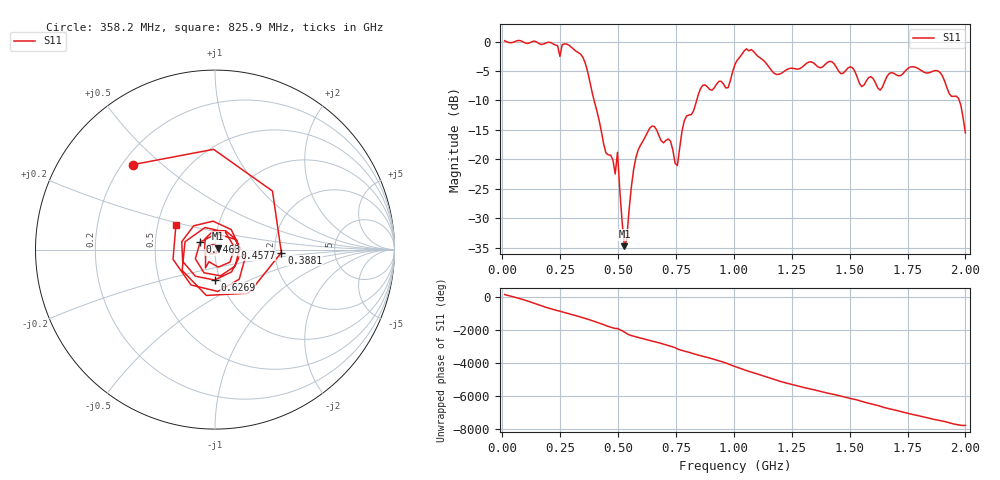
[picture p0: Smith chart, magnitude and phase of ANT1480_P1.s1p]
!Created with skrf (http://scikit-rf.org).
# Hz S RI R 50.0
!freq ReS11 ImS11
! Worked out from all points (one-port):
!   201 points, 10 MHz to 2 GHz, reference 50 ohm
!   lowest |S11| = -34.7 dB at 527.4 MHz (marker M1), VSWR 1.04, Z = 51.7 + j0.798 ohm
!   |S11| at or under -10 dB: 396.5 MHz to 839.3 MHz (442.8 MHz wide, 71.7 % of centre); 1.973 GHz to end of sweep
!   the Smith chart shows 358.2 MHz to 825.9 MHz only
!   S11 on the Smith chart (normalised r, x): 358.2 MHz: 0.24, +0.41; 388.1 MHz: 2.17, -0.08; 457.8 MHz: 1.24, +0.03; 626.9 MHz: 0.94, -0.33; 746.3 MHz: 0.84, +0.07; 825.9 MHz: 0.62, +0.18
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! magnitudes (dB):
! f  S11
! 10 MHz  0.1
! 258.8 MHz  -0.5
! 358.2 MHz  -3.7
! 388.1 MHz  -8.6
! 457.8 MHz  -19.2
! 487.6 MHz  -22.5
! 497.6 MHz  -18.8
! 507.5 MHz  -25.3
! 527.4 MHz  -34.7
! 577.1 MHz  -19.7
! 626.9 MHz  -15.4
! 726.4 MHz  -16.9
! 746.3 MHz  -20.6
! 756.2 MHz  -21.0
! 786.1 MHz  -13.4
! 825.9 MHz  -11.8
! 865.7 MHz  -7.4
! 975.1 MHz  -7.8
! 1.005 GHz  -3.9
! 1.055 GHz  -1.2
! 1.184 GHz  -5.6
! 1.254 GHz  -4.5
! 1.502 GHz  -4.3
! 1.632 GHz  -8.2
! 1.751 GHz  -4.6
! 1.891 GHz  -5.2
! 1.97 GHz  -9.6
! 2 GHz  -15.5
